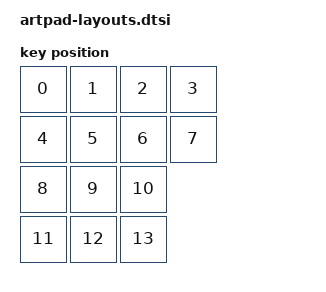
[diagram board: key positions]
// Physical layout, used by ZMK Studio to draw the keys.
// Positions are placeholders in a grid that mirrors the matrix; update the
// x/y values once the enclosure layout is decided. Units are 1/100 of a key.
// There must be exactly one entry per key in the matrix transform (14).
// See https://zmk.dev/docs/development/hardware-integration/physical-layouts

#include <physical_layouts.dtsi>

/ {
    default_layout: default_layout {
        compatible = "zmk,physical-layout";
        display-name = "Default Layout";
        transform = <&default_transform>;
        kscan = <&kscan>;

        keys  //                     w   h    x    y     rot    rx    ry
            = <&key_physical_attrs 100 100    0    0       0     0     0>  // up
            , <&key_physical_attrs 100 100  100    0       0     0     0>  // down
            , <&key_physical_attrs 100 100  200    0       0     0     0>  // left
            , <&key_physical_attrs 100 100  300    0       0     0     0>  // right
            , <&key_physical_attrs 100 100    0  100       0     0     0>  // B1
            , <&key_physical_attrs 100 100  100  100       0     0     0>  // B2
            , <&key_physical_attrs 100 100  200  100       0     0     0>  // B3
            , <&key_physical_attrs 100 100  300  100       0     0     0>  // B4
            , <&key_physical_attrs 100 100    0  200       0     0     0>  // B5
            , <&key_physical_attrs 100 100  100  200       0     0     0>  // B6
            , <&key_physical_attrs 100 100  200  200       0     0     0>  // B7
            , <&key_physical_attrs 100 100    0  300       0     0     0>  // knob click
            , <&key_physical_attrs 100 100  100  300       0     0     0>  // dial click
            , <&key_physical_attrs 100 100  200  300       0     0     0>  // scroll click
            ;
    };
};
